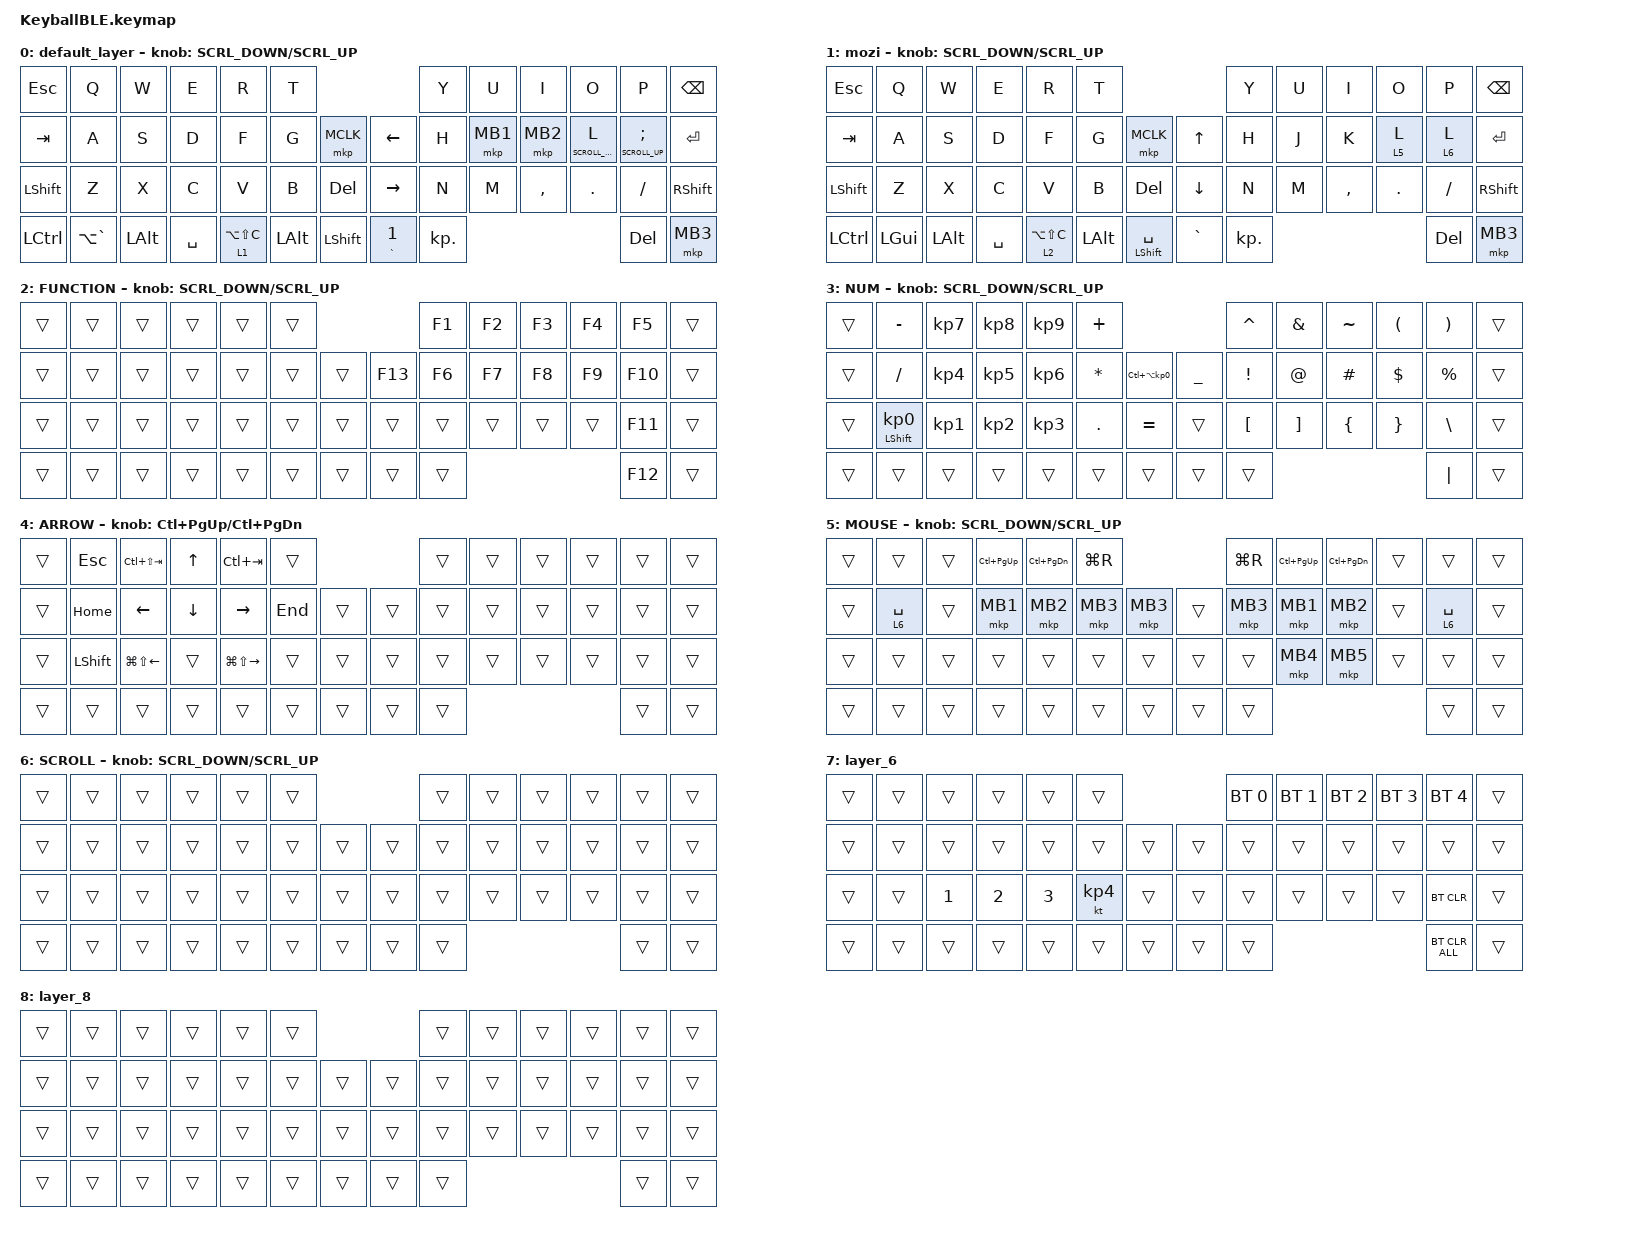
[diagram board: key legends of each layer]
#define ZMK_POINTING_DEFAULT_SCRL_VAL 120    // default: 10

#include <behaviors.dtsi>
#include <dt-bindings/zmk/bt.h>
#include <dt-bindings/zmk/keys.h>
#include <dt-bindings/zmk/pointing.h>

#define MOUSE 4
#define SCROLL 5
#define NUM 6

&mt {
    flavor = "balanced";
    quick-tap-ms = <0>;
};

/ {
    combos {
        compatible = "zmk,combos";

        double_quotation {
            bindings = <&kp DOUBLE_QUOTES>;
            key-positions = <20 21>;
        };
    };

    macros {
        to_layer_0: to_layer_0 {
            compatible = "zmk,behavior-macro-one-param";
            #binding-cells = <1>;
            bindings = <&to 0 &macro_param_1to1 &kp MACRO_PLACEHOLDER>;
            label = "TO_LAYER_0";
        };
    };

    behaviors {
        lt_to_layer_0: lt_to_layer_0 {
            compatible = "zmk,behavior-hold-tap";
            label = "LAYER_TAP_TO_0";
            bindings = <&mo>, <&to_layer_0>;

            #binding-cells = <2>;
            tapping-term-ms = <200>;
        };

        ROTATE: ROTATE {
            compatible = "zmk,behavior-sensor-rotate-var";
            label = "ROTATE";
            #sensor-binding-cells = <2>;
            bindings = <&msc>, <&msc>;

            tap-ms = <20>;
        };
    };

    keymap {
        compatible = "zmk,keymap";

        default_layer {
            bindings = <
&kp ESCAPE  &kp Q          &kp W     &kp E      &kp R            &kp T                                               &kp Y       &kp U     &kp I      &kp O                &kp P                      &kp BSPC
&kp TAB     &kp A          &kp S     &kp D      &kp F            &kp G         &mkp MCLK         &kp LEFT            &kp H       &mkp MB1  &mkp MB2   &mt K_SCROLL_DOWN L  &mt K_SCROLL_UP SEMICOLON  &kp ENTER
&kp LSHFT   &kp Z          &kp X     &kp C      &kp V            &kp B         &kp DELETE        &kp RIGHT           &kp N       &kp M     &kp COMMA  &kp DOT              &kp FSLH                   &kp RSHFT
&kp LCTRL   &kp LA(GRAVE)  &kp LALT  &kp SPACE  &lt 1 LA(LS(C))  &kp LEFT_ALT  &kp LEFT_SHIFT    &mt GRAVE NUMBER_1  &kp KP_DOT                                            &kp DEL                    &mkp MB3
            >;

            sensor-bindings = <&ROTATE SCRL_DOWN SCRL_UP>;
        };

        mozi {
            bindings = <
&kp ESCAPE  &kp Q     &kp W     &kp E      &kp R            &kp T                                                 &kp Y       &kp U  &kp I      &kp O    &kp P     &kp BSPC
&kp TAB     &kp A     &kp S     &kp D      &kp F            &kp G         &mkp MCLK               &kp UP_ARROW    &kp H       &kp J  &kp K      &lt 5 L  &lt 6 L   &kp ENTER
&kp LSHFT   &kp Z     &kp X     &kp C      &kp V            &kp B         &kp DELETE              &kp DOWN_ARROW  &kp N       &kp M  &kp COMMA  &kp DOT  &kp FSLH  &kp RSHFT
&kp LCTRL   &kp LGUI  &kp LALT  &kp SPACE  &lt 2 LA(LS(C))  &kp LEFT_ALT  &mt LEFT_SHIFT SPACE    &kp GRAVE       &kp KP_DOT                             &kp DEL   &mkp MB3
            >;

            sensor-bindings = <&ROTATE SCRL_DOWN SCRL_UP>;
        };

        FUNCTION {
            bindings = <
&trans  &trans  &trans  &trans  &trans  &trans                     &kp F1  &kp F2  &kp F3  &kp F4  &kp F5   &trans
&trans  &trans  &trans  &trans  &trans  &trans  &trans    &kp F13  &kp F6  &kp F7  &kp F8  &kp F9  &kp F10  &trans
&trans  &trans  &trans  &trans  &trans  &trans  &trans    &trans   &trans  &trans  &trans  &trans  &kp F11  &trans
&trans  &trans  &trans  &trans  &trans  &trans  &trans    &trans   &trans                          &kp F12  &trans
            >;

            sensor-bindings = <&ROTATE SCRL_DOWN SCRL_UP>;
        };

        NUM {
            bindings = <
&trans  &kp MINUS                   &kp KP_NUMBER_7  &kp KP_NUMBER_8  &kp KP_NUMBER_9  &kp PLUS                                                 &kp CARET         &kp AMPERSAND      &kp TILDE       &kp LEFT_PARENTHESIS  &kp RIGHT_PARENTHESIS  &trans
&trans  &kp SLASH                   &kp KP_NUMBER_4  &kp KP_NUMBER_5  &kp KP_NUMBER_6  &kp ASTERISK  &kp LC(LA(KP_NUMBER_0))    &kp UNDERSCORE  &kp EXCLAMATION   &kp AT_SIGN        &kp HASH        &kp DOLLAR            &kp PERCENT            &trans
&trans  &mt LEFT_SHIFT KP_NUMBER_0  &kp KP_NUMBER_1  &kp KP_NUMBER_2  &kp KP_NUMBER_3  &kp PERIOD    &kp EQUAL                  &trans          &kp LEFT_BRACKET  &kp RIGHT_BRACKET  &kp LEFT_BRACE  &kp RIGHT_BRACE       &kp BACKSLASH          &trans
&trans  &trans                      &trans           &trans           &trans           &trans        &trans                     &trans          &trans                                                                     &kp PIPE               &trans
            >;

            sensor-bindings = <&ROTATE SCRL_DOWN SCRL_UP>;
        };

        ARROW {
            bindings = <
&trans  &kp ESCAPE      &kp LC(LS(TAB))         &kp UP_ARROW    &kp LC(TAB)              &trans                     &trans  &trans  &trans  &trans  &trans  &trans
&trans  &kp HOME        &kp LEFT_ARROW          &kp DOWN_ARROW  &kp RIGHT_ARROW          &kp END  &trans    &trans  &trans  &trans  &trans  &trans  &trans  &trans
&trans  &kp LEFT_SHIFT  &kp LG(LS(LEFT_ARROW))  &trans          &kp LG(LS(RIGHT_ARROW))  &trans   &trans    &trans  &trans  &trans  &trans  &trans  &trans  &trans
&trans  &trans          &trans                  &trans          &trans                   &trans   &trans    &trans  &trans                          &trans  &trans
            >;

            sensor-bindings = <&inc_dec_kp LC(PAGE_UP) LC(PAGE_DOWN)>;
        };

        MOUSE {
            bindings = <
&trans  &trans       &trans  &kp LC(PAGE_UP)  &kp LC(PAGE_DOWN)  &kp LG(R)                      &kp LG(R)  &kp LC(PAGE_UP)  &kp LC(PAGE_DOWN)  &trans  &trans       &trans
&trans  &lt 6 SPACE  &trans  &mkp MB1         &mkp MB2           &mkp MB3   &mkp MB3    &trans  &mkp MB3   &mkp MB1         &mkp MB2           &trans  &lt 6 SPACE  &trans
&trans  &trans       &trans  &trans           &trans             &trans     &trans      &trans  &trans     &mkp MB4         &mkp MB5           &trans  &trans       &trans
&trans  &trans       &trans  &trans           &trans             &trans     &trans      &trans  &trans                                                 &trans       &trans
            >;

            sensor-bindings = <&ROTATE SCRL_DOWN SCRL_UP>;
        };

        SCROLL {
            bindings = <
&trans  &trans  &trans  &trans  &trans  &trans                    &trans  &trans  &trans  &trans  &trans  &trans
&trans  &trans  &trans  &trans  &trans  &trans  &trans    &trans  &trans  &trans  &trans  &trans  &trans  &trans
&trans  &trans  &trans  &trans  &trans  &trans  &trans    &trans  &trans  &trans  &trans  &trans  &trans  &trans
&trans  &trans  &trans  &trans  &trans  &trans  &trans    &trans  &trans                          &trans  &trans
            >;

            sensor-bindings = <&ROTATE SCRL_DOWN SCRL_UP>;
        };

        layer_6 {
            bindings = <
&trans  &trans  &trans        &trans        &trans        &trans                       &bt BT_SEL 0  &bt BT_SEL 1  &bt BT_SEL 2  &bt BT_SEL 3  &bt BT_SEL 4    &trans
&trans  &trans  &trans        &trans        &trans        &trans     &trans    &trans  &trans        &trans        &trans        &trans        &trans          &trans
&trans  &trans  &kp NUMBER_1  &kp NUMBER_2  &kp NUMBER_3  &kt KP_N4  &trans    &trans  &trans        &trans        &trans        &trans        &bt BT_CLR      &trans
&trans  &trans  &trans        &trans        &trans        &trans     &trans    &trans  &trans                                                  &bt BT_CLR_ALL  &trans
            >;
        };

        layer_8 {
            bindings = <
&trans  &trans  &trans  &trans  &trans  &trans                    &trans  &trans  &trans  &trans  &trans  &trans
&trans  &trans  &trans  &trans  &trans  &trans  &trans    &trans  &trans  &trans  &trans  &trans  &trans  &trans
&trans  &trans  &trans  &trans  &trans  &trans  &trans    &trans  &trans  &trans  &trans  &trans  &trans  &trans
&trans  &trans  &trans  &trans  &trans  &trans  &trans    &trans  &trans                          &trans  &trans
            >;
        };
    };
};
